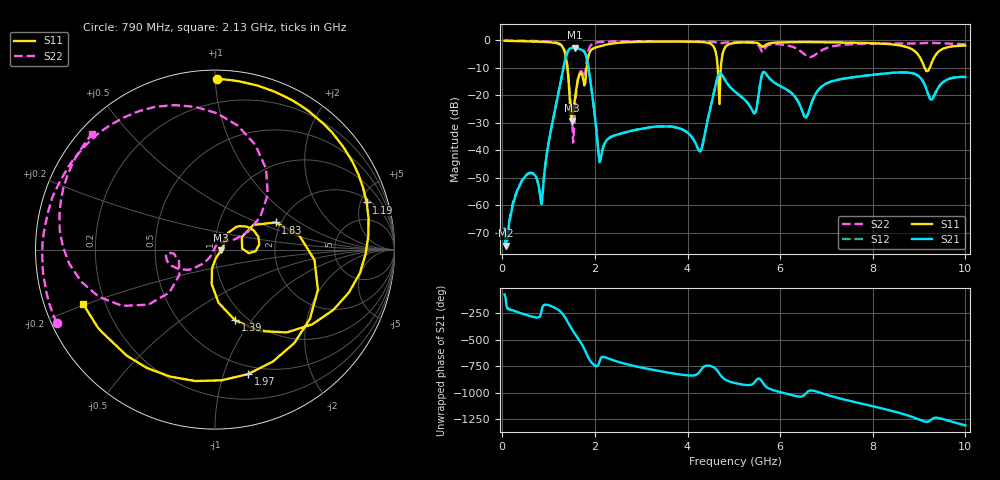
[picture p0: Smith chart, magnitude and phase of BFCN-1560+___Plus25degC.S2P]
! Mini-Circuits
! S2P DATA File Format
! Type: Coaxial Low Pass Filter
! Model: BFCN-1560+
! Note: All S Parameters are in dB deg format
! TEST CONDITIONS: INPUT POWER = 0 dBm @Temperature = +25degC
! 401 Frequency points
# MHz S DB R 50
!  FREQ  dB(S11)  PHS(S11)  dB(S21)  PHS(S21)  dB(S12)  PHS(S12)  dB(S22)  PHS(S22)
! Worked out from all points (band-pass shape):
!   401 points, 50 MHz to 10 GHz, reference 50 ohm
!   highest |S21| = -2.61 dB at 1.56 GHz (marker M1); lowest = -74.8 dB at 70 MHz (marker M2)
!   |S21| within 3 dB of the highest: 1.38 GHz to 1.81 GHz (430.3 MHz wide, 27 % of centre)
!   lowest |S11| = -29.2 dB at 1.5 GHz (marker M3), VSWR 1.07, Z = 53.6 - j0.431 ohm
!   |S11| at or under -10 dB: 1.406 GHz to 1.822 GHz (415.5 MHz wide, 25.7 % of centre); 4.652 GHz to 4.72 GHz (68.13 MHz wide, 1.45 % of centre); 9.12 GHz to 9.228 GHz (107.4 MHz wide, 1.17 % of centre)
!   |S22| runs from -37.2 to 0.0 dB; largest |S21 - S12| = 0.0022
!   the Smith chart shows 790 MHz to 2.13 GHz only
!   S11 on the Smith chart (normalised r, x): 790 MHz: 0.05, +1.01; 1.19 GHz: 2.33, +5.64; 1.39 GHz: 0.88, -0.83; 1.83 GHz: 1.87, +0.65; 1.97 GHz: 0.42, -1.21; 2.13 GHz: 0.12, -0.20
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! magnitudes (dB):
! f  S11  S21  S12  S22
! 50 MHz  -0.1  -68.6  -73.6  0.0
! 70 MHz  -0.1  -74.8  -75.0  0.0
! 450 MHz  -0.3  -50.5  -50.5  -0.1
! 790 MHz  -0.5  -53.4  -53.5  -0.2
! 1.19 GHz  -1.1  -21.1  -21.0  -0.8
! 1.39 GHz  -7.8  -5.0  -5.0  -7.4
! 1.5 GHz  -29.2  -2.7  -2.7  -27.9
! 1.56 GHz  -22.4  -2.6  -2.6  -29.4
! 1.71 GHz  -12.1  -3.4  -3.4  -11.2
! 1.83 GHz  -8.6  -7.0  -7.0  -6.3
! 1.97 GHz  -2.9  -23.5  -23.5  -1.0
! 2.13 GHz  -2.0  -42.5  -42.5  -0.5
! 3.37 GHz  -0.4  -31.3  -31.4  -0.3
! 4.27 GHz  -0.5  -40.4  -40.4  -0.4
! 4.67 GHz  -16.0  -12.6  -12.5  -0.9
! 5.03 GHz  -0.9  -18.8  -18.7  -0.6
! 5.45 GHz  -0.8  -26.5  -26.5  -1.0
! 5.65 GHz  -2.1  -11.5  -11.5  -3.6
! 6.72 GHz  -0.6  -21.0  -21.0  -5.6
! 8.36 GHz  -1.4  -11.9  -11.9  -1.1
! 9.16 GHz  -11.2  -17.8  -17.8  -0.9
! 10 GHz  -1.9  -13.3  -13.3  -1.3
